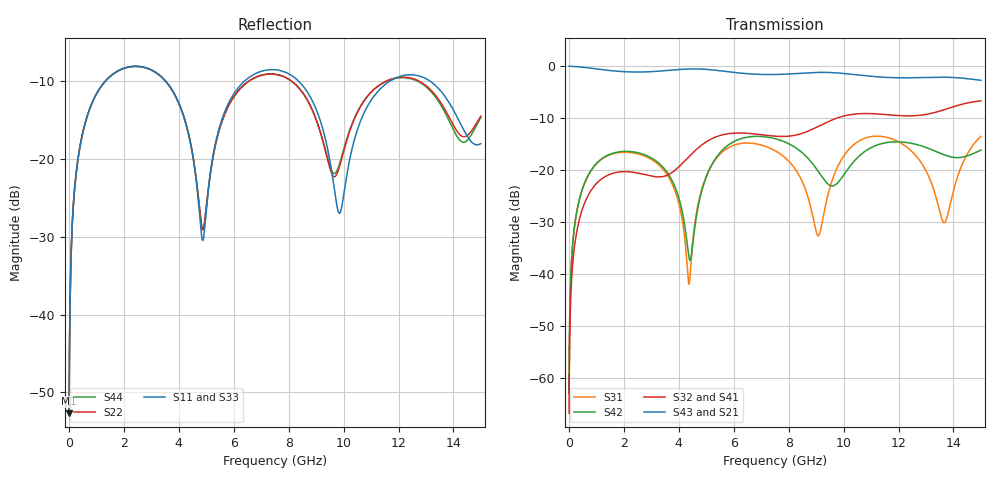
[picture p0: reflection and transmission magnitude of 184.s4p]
! Created with skrf 1.8.0 (http://scikit-rf.org).
# GHz S RI R 50.0
!freq ReS11 ImS11 ReS12 ImS12 ReS13 ImS13
! ReS14 ImS14
! ReS21 ImS21 ReS22 ImS22 ReS23 ImS23
! ReS24 ImS24
! ReS31 ImS31 ReS32 ImS32 ReS33 ImS33
! ReS34 ImS34
! ReS41 ImS41 ReS42 ImS42 ReS43 ImS43
! ReS44 ImS44
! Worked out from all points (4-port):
!   2499 points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, 5 MHz to 15 GHz, reference 50 ohm
!   strongest paths, dB at 5 MHz, 3.476 GHz, 7.19 GHz, 11.1 GHz, 15 GHz:
!     S43: 0.0, -0.9, -1.6, -2.0, -2.7
!     S21: 0.0, -0.9, -1.6, -2.0, -2.7
!     S32: -66.8, -21.2, -13.3, -9.2, -6.7
!     S41: -66.8, -21.2, -13.3, -9.2, -6.7
!     S42: -62.9, -19.8, -13.6, -15.4, -16.2
!     S31: -62.9, -20.2, -15.5, -13.5, -13.5
!   lowest |S11| = -52.7 dB at 5 MHz (marker M1), VSWR 1.00, Z = 50.2 + j0.141 ohm
!   |S11| at or under -10 dB: 3.533 GHz to 6.38 GHz (2.847 GHz wide, 57.4 % of centre); 8.372 GHz to 11.67 GHz (3.298 GHz wide, 32.9 % of centre); 13.16 GHz to end of sweep (the widest 3 of 4)
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0.005  0.00184 0.0014  0.9981 -0.00358  9.23e-05 0.00071  -8.99e-05 -0.000449
       0.9981 -0.00358  0.00184 0.0014  -8.99e-05 -0.000449  9.25e-05 0.00071
       9.23e-05 0.00071  -8.99e-05 -0.000449  0.00184 0.0014  0.9981 -0.00358
       -8.99e-05 -0.000449  9.25e-05 0.00071  0.9981 -0.00358  0.00184 0.0014
0.3626511  0.0369 0.1036  0.9491 -0.2548  0.017 0.0471  -0.0143 -0.0288
           0.9491 -0.2548  0.0368 0.1036  -0.0143 -0.0288  0.0176 0.0469
           0.017 0.0471  -0.0143 -0.0288  0.0369 0.1036  0.9491 -0.2548
           -0.0143 -0.0288  0.0176 0.0469  0.9491 -0.2548  0.0368 0.1036
1.77574  0.3466 0.1277  0.3558 -0.8179  0.1427 0.034  -0.0921 0.0245
         0.3558 -0.8179  0.3446 0.13  -0.0922 0.0245  0.147 0.024
         0.1427 0.034  -0.0922 0.0245  0.3465 0.1278  0.3558 -0.8179
         -0.0921 0.0245  0.147 0.024  0.3558 -0.8179  0.3446 0.1299
4.370571  0.0684 -0.1236  -0.8611 -0.3711  -0.00767 -0.00219  -0.0495 0.1255
          -0.8611 -0.3711  0.0736 -0.1201  -0.0493 0.1256  -0.0127 -0.00694
          -0.00767 -0.00219  -0.0493 0.1256  0.0679 -0.1235  -0.8611 -0.3712
          -0.0495 0.1255  -0.0127 -0.00694  -0.8611 -0.3712  0.0738 -0.1198
7.328053  0.3762 -0.00767  -0.1032 0.8222  0.1607 -0.0207  0.2089 -0.0446
          -0.1032 0.8222  0.3528 0.011  0.209 -0.0454  0.1728 -0.1106
          0.1607 -0.0207  0.209 -0.0454  0.3755 -0.00744  -0.1036 0.8223
          0.2089 -0.0446  0.1728 -0.1106  -0.1036 0.8223  0.3526 0.011
10.07295  0.0566 0.0419  0.8439 -0.0472  0.0891 0.1142  -0.035 -0.3315
          0.8439 -0.0472  0.1001 0.074  -0.0359 -0.332  -0.00035 0.0952
          0.0891 0.1142  -0.0359 -0.332  0.0514 0.0411  0.844 -0.0458
          -0.035 -0.3315  -0.00035 0.0952  0.844 -0.0458  0.1045 0.0724
15  0.1256 -0.0067  -0.7294 -0.0159  0.0973 0.187  0.0102 0.4637
    -0.7294 -0.0159  0.1774 0.0659  0.0139 0.4627  -0.0246 0.1536
    0.0973 0.187  0.0139 0.4627  0.1309 -0.000915  -0.7295 -0.0167
    0.0102 0.4637  -0.0246 0.1536  -0.7295 -0.0167  0.1705 0.0724
